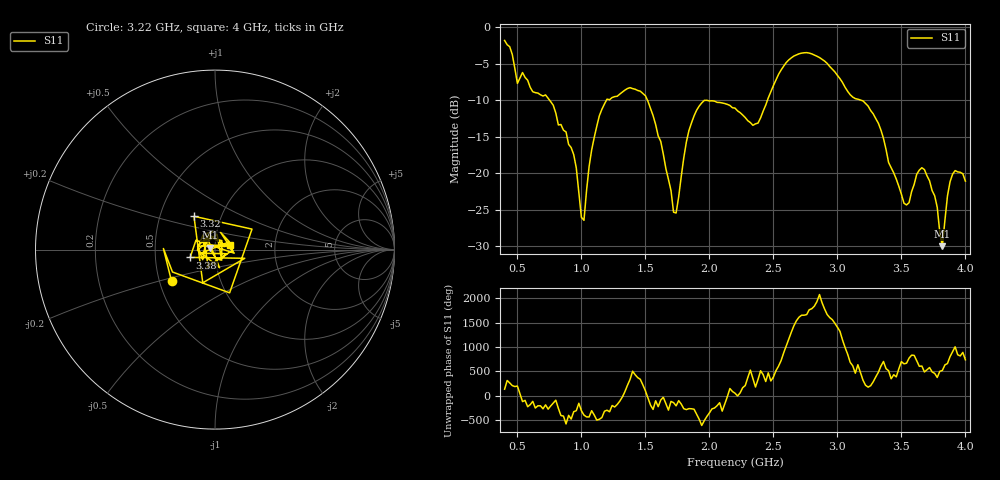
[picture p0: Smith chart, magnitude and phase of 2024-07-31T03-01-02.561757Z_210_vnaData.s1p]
!Created with skrf (http://scikit-rf.org).
# Hz S RI R 50.0
!freq ReS11 ImS11
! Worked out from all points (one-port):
!   181 points, 400 MHz to 4 GHz, reference 50 ohm
!   lowest |S11| = -30.0 dB at 3.82 GHz (marker M1), VSWR 1.07, Z = 47.1 + j1.06 ohm
!   |S11| at or under -10 dB: 750.6 MHz to 1.196 GHz (445.9 MHz wide, 45.8 % of centre); 1.515 GHz to 2.454 GHz (938.7 MHz wide, 47.3 % of centre); 3.179 GHz to end of sweep
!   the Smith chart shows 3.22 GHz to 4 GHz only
!   S11 on the Smith chart (normalised r, x): 3.22 GHz: 0.58, -0.22; 3.32 GHz: 0.74, +0.29; 3.38 GHz: 0.75, -0.07; 4 GHz: 1.18, +0.07
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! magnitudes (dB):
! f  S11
! 400 MHz  -1.8
! 500 MHz  -7.7
! 720 MHz  -9.3
! 860 MHz  -14.1
! 940 MHz  -17.5
! 1.02 GHz  -26.5
! 1.06 GHz  -19.1
! 1.14 GHz  -12.2
! 1.3 GHz  -9.2
! 1.5 GHz  -9.4
! 1.62 GHz  -15.7
! 1.72 GHz  -25.4
! 1.76 GHz  -23.2
! 1.84 GHz  -14.2
! 1.92 GHz  -10.8
! 2.2 GHz  -11.1
! 2.38 GHz  -13.2
! 2.66 GHz  -4.0
! 3.1 GHz  -9.3
! 3.22 GHz  -10.5
! 3.32 GHz  -13.2
! 3.38 GHz  -16.8
! 3.56 GHz  -24.0
! 3.68 GHz  -19.5
! 3.76 GHz  -23.1
! 3.82 GHz  -30.0
! 3.9 GHz  -20.1
! 4 GHz  -21.1
